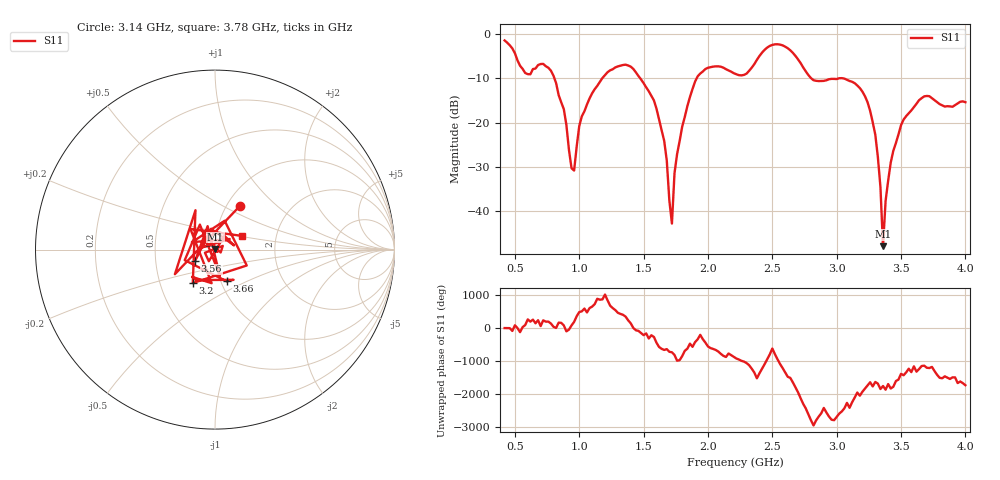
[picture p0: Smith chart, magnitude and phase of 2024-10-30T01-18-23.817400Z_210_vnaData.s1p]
!Created with skrf (http://scikit-rf.org).
# Hz S RI R 50.0
!freq ReS11 ImS11
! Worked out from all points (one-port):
!   180 points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, 420 MHz to 4 GHz, reference 50 ohm
!   lowest |S11| = -47.9 dB at 3.36 GHz (marker M1), VSWR 1.01, Z = 50.3 + j0.302 ohm
!   |S11| at or under -10 dB: 806.8 MHz to 1.179 GHz (372 MHz wide, 37.5 % of centre); 1.473 GHz to 1.913 GHz (439.3 MHz wide, 26 % of centre); 3.045 GHz to end of sweep (the widest 3 of 4)
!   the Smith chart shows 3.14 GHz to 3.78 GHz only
!   S11 on the Smith chart (normalised r, x): 3.14 GHz: 1.15, +0.60; 3.2 GHz: 0.73, -0.29; 3.56 GHz: 0.79, -0.10; 3.66 GHz: 1.07, -0.39; 3.78 GHz: 1.34, +0.21
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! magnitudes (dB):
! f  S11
! 420 MHz  -1.5
! 580 MHz  -8.8
! 780 MHz  -8.3
! 880 MHz  -17.0
! 960 MHz  -30.8
! 1 GHz  -20.8
! 1.08 GHz  -14.5
! 1.32 GHz  -7.2
! 1.58 GHz  -15.0
! 1.66 GHz  -24.1
! 1.72 GHz  -42.8
! 1.74 GHz  -31.4
! 1.78 GHz  -24.1
! 1.92 GHz  -9.6
! 2.22 GHz  -9.1
! 2.66 GHz  -4.3
! 3.12 GHz  -10.8
! 3.14 GHz  -11.1
! 3.2 GHz  -13.0
! 3.3 GHz  -22.7
! 3.34 GHz  -34.6
! 3.36 GHz  -47.9
! 3.38 GHz  -37.7
! 3.42 GHz  -29.0
! 3.56 GHz  -17.9
! 3.66 GHz  -14.5
! 3.78 GHz  -15.4
! 4 GHz  -15.4
